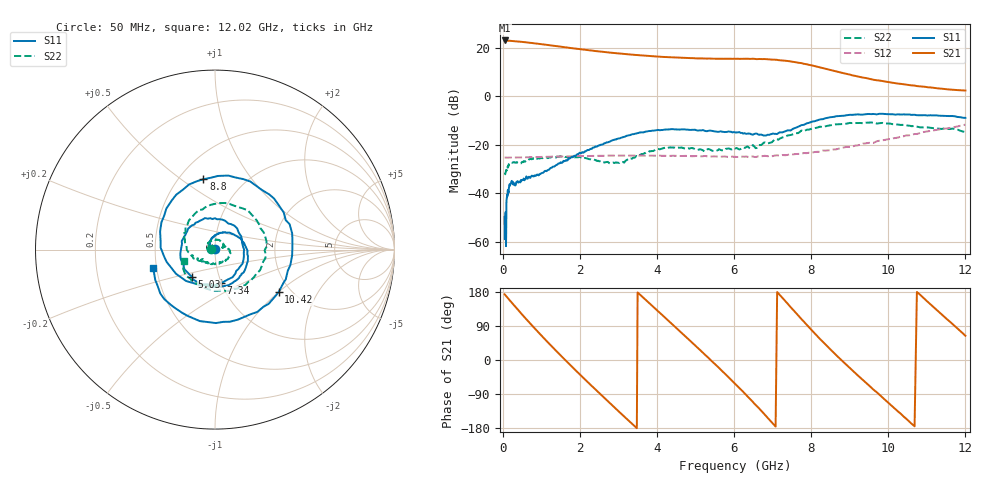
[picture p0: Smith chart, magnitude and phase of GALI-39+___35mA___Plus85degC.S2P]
! Mini-Circuits
! S2P DATA File Format
! Type: MMIC Amplifier
! Model: GALI-39  Reference Data:RDF-1232
! Note: All S Parameters are in dB deg format
! TEST CONDITIONS: INPUT POWER = -25dBm, Icc = 35mA, Vd = 3.46V @Temperature = +85degC
! 401 Frequency points
# MHz S DB R 50
!  FREQ  dB(S11)  PHS(S11)  dB(S21)  PHS(S21)  dB(S12)  PHS(S12)  dB(S22)  PHS(S22)
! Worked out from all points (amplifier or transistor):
!   401 points, 50 MHz to 12.02 GHz, reference 50 ohm
!   highest |S21| = 23.1 dB at 62 MHz (marker M1)
!   |S21| within 3 dB of that: start of sweep to 1.711 GHz
!   unconditionally stable (mu >= 1): start of sweep to end of sweep
!   at 965 MHz: K = 1.07, MAG = 21.7 dB, |S12| = -25.0 dB
!   at 3.31 GHz: K = 1.32, MAG = 17.5 dB, |S12| = -24.4 dB
!   at 12.02 GHz: K = 1.39, MAG = 3.3 dB, |S12| = -11.6 dB
!   S11 on the Smith chart (normalised r, x): 50 MHz: 1.00, +0.00; 5.03 GHz: 0.74, -0.24; 7.34 GHz: 0.99, -0.39; 8.8 GHz: 0.65, +0.61; 10.42 GHz: 1.73, -1.00; 12.02 GHz: 0.48, -0.11
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50  -49.73 42.8  23.09 173.3  -25.23 -3.8  -32.29 174.2
62  -55.35 -69.4  23.13 171.9  -25.22 -4.5  -32.00 174.5
440  -35.13 -150.5  22.64 127.3  -25.17 -28.2  -27.50 166.8
810  -33.00 177.5  21.96 85.8  -25.03 -52.5  -25.73 131.4
1140  -30.83 161.6  21.34 50.2  -24.91 -74.6  -25.18 99.9
1420  -28.11 142.3  20.74 20.9  -24.82 -93.5  -24.82 73.4
2050  -23.24 99.9  19.46 -42.7  -24.61 -137.2  -25.14 28.8
2525  -20.13 70.7  18.57 -89.0  -24.47 -171.0  -26.75 16.1
3135  -16.72 28.9  17.56 -147.1  -24.40 144.0  -27.17 15.2
3575  -14.83 -1.9  16.99 171.7  -24.40 111.0  -24.07 13.4
4050  -13.80 -38.6  16.45 127.4  -24.43 74.2  -21.65 -5.6
4540  -13.61 -81.6  16.02 81.6  -24.50 34.4  -21.23 -30.2
5030  -13.93 -129.7  15.75 35.4  -24.57 -7.1  -21.94 -58.9
5520  -14.41 -179.9  15.60 -11.3  -24.74 -50.8  -22.40 -83.6
6040  -14.85 121.3  15.55 -62.8  -24.86 -99.2  -21.48 -113.6
6810  -16.12 10.3  15.45 -144.3  -24.48 -175.4  -18.94 -150.2
7340  -14.39 -80.5  14.77 156.0  -24.25 131.0  -16.62 -173.7
8040  -10.37 177.9  12.80 77.5  -23.17 61.5  -13.22 131.7
8800  -8.02 99.3  9.79 -0.4  -21.25 -7.9  -11.48 66.7
10060  -7.31 -4.3  5.85 -116.8  -17.57 -119.4  -11.18 -24.7
10420  -7.40 -33.7  5.04 -149.6  -16.41 -150.1  -11.70 -49.7
12020  -8.83 -164.0  2.46 64.0  -11.60 72.2  -14.63 -159.9
